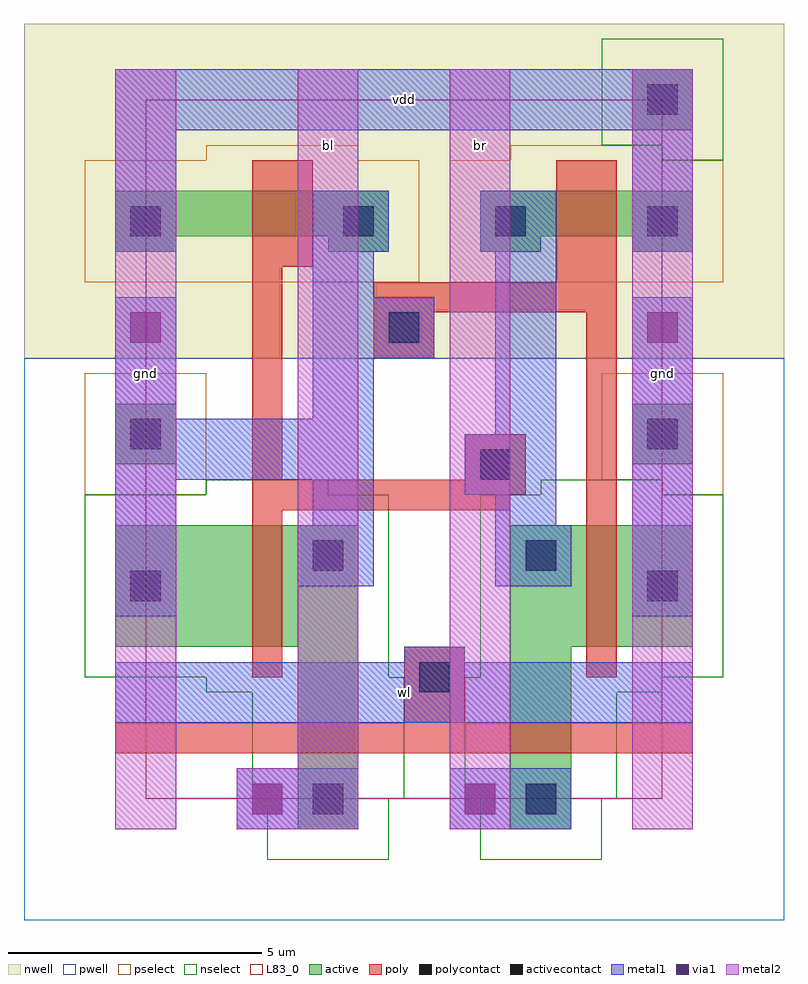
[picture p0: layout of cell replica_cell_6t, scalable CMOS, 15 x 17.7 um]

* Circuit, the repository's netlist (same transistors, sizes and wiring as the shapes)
.SUBCKT replica_cell_6t bl br wl vdd gnd
M1 gnd net_2 vdd vdd p w=0.9u l=1.2u 
M2 net_2 gnd vdd vdd p w=0.9u l=1.2u 
M3 br wl net_2 gnd n w=1.2u l=0.6u 
M4 bl wl gnd gnd n w=1.2u l=0.6u  
M5 net_2 gnd gnd gnd n w=2.4u l=0.6u 
M6 gnd net_2 gnd gnd n w=2.4u l=0.6u  
.ENDS replica_cell_6t

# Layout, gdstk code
import gdstk
lib = gdstk.Library(unit=1e-6, precision=1e-09)
def R(c, l, rs):  # rectangles x0, y0, x1, y1
    for r in rs: c.add(gdstk.rectangle(r[:2], r[2:], *l))
def A(c, l, x, y, w, h, nx, ny, dx, dy):  # array of equal rectangles
    R(c, l, [(x+i*dx, y+j*dy, x+i*dx+w, y+j*dy+h) for i in range(nx) for j in range(ny)])
pwell = (41, 0)
nwell = (42, 0)
active = (43, 0)
pselect = (44, 0)
nselect = (45, 0)
poly = (46, 0)
polycontact = (47, 0)
activecontact = (48, 0)
metal1 = (49, 0)
via1 = (50, 0)
metal2 = (51, 0)
L83_0 = (83, 0)

replica_cell_6t = lib.new_cell('replica_cell_6t')
R(replica_cell_6t, pwell, [(-2.4,-2.4,12.6,8.7)])
R(replica_cell_6t, nwell, [(-2.4,8.7,12.6,15.3)])
A(replica_cell_6t, active, 3.6, 10.8, 1.2, 0.3, 3, 1, 3, 0)
R(replica_cell_6t, active, [(3,-0.6,4.2,3), (7.2,-0.6,8.4,3), (-0.6,3,4.2,5.4), (7.2,3,10.8,5.4), (-0.6,6.6,0.6,7.8), (9.6,6.6,10.8,7.8), (-0.6,10.8,0.6,11.1), (-0.6,11.1,4.8,12), (6.6,11.1,10.8,12), (9.6,13.2,10.8,14.4)])
R(replica_cell_6t, pselect, [(-1.2,6,1.2,8.4), (10.2,6,11.4,6.3), (9,6.3,11.4,8.4), (-1.2,10.2,5.4,12.6), (6,10.2,11.4,12.6), (1.2,12.6,4.2,12.9), (7.2,12.6,10.2,12.9)])
R(replica_cell_6t, nselect, [(2.4,-1.2,4.8,0), (6.6,-1.2,9,0), (2.1,0,5.1,2.1), (6.3,0,9.3,2.1), (1.2,2.1,5.1,2.4), (6.3,2.1,10.2,2.4), (-1.2,2.4,4.8,6), (6.6,2.4,11.4,6), (1.2,6,3.6,6.3), (7.8,6,10.2,6.3), (10.2,12.6,11.4,12.9), (9,12.9,11.4,15)])
R(replica_cell_6t, poly, [(-0.6,0.9,10.8,1.5), (5.1,1.5,6.3,3), (2.1,2.4,2.7,5.7), (8.7,2.4,9.3,9.6), (2.1,5.7,7.2,6), (2.1,6,7.5,6.3), (2.1,6.3,2.7,10.5), (6.3,6.3,7.5,7.2), (4.5,8.7,5.7,9.6), (4.5,9.6,9.3,10.2), (8.1,10.2,9.3,12.6), (2.1,10.5,3.3,12.6)])
R(replica_cell_6t, polycontact, [(5.4,2.1,6,2.7), (6.6,6.3,7.2,6.9), (4.8,9,5.4,9.6)])
A(replica_cell_6t, activecontact, 3.9, 11.1, 0.6, 0.6, 3, 1, 3, 0)
R(replica_cell_6t, activecontact, [(3.3,-0.3,3.9,0.3), (7.5,-0.3,8.1,0.3), (-0.3,3.9,0.3,4.5), (9.9,3.9,10.5,4.5), (3.3,4.5,3.9,5.1), (7.5,4.5,8.1,5.1), (-0.3,6.9,0.3,7.5), (9.9,6.9,10.5,7.5), (-0.3,11.1,0.3,11.7), (9.9,13.5,10.5,14.1)])
R(replica_cell_6t, metal1, [(1.8,-0.6,4.2,0.6), (6,-0.6,8.4,0.6), (-0.6,1.5,10.8,2.7), (5.1,2.7,6.3,3), (-0.6,3.6,0.6,6.3), (9.6,3.6,10.8,9.9), (3,4.2,4.5,5.4), (6.9,4.2,8.4,5.4), (3.3,5.4,4.5,6.3), (6.9,5.4,8.1,6), (6.3,6,8.1,7.2), (-0.6,6.3,4.5,7.5), (6.9,7.2,8.1,10.8), (-0.6,7.5,0.6,9.9), (3.3,7.5,4.5,8.7), (3.3,8.7,5.7,9.9), (3.3,9.9,4.5,10.8), (-0.6,10.8,0.6,13.2), (3.3,10.8,4.8,12), (6.6,10.8,8.1,12), (9.6,10.8,10.8,13.2), (-0.6,13.2,10.8,14.4)])
R(replica_cell_6t, via1, [(2.1,-0.3,2.7,0.3), (6.3,-0.3,6.9,0.3), (-0.3,9,0.3,9.6), (9.9,9,10.5,9.6)])
R(replica_cell_6t, metal2, [(-0.6,-0.6,0.6,14.4), (1.8,-0.6,4.2,0.6), (6,-0.6,7.2,14.4), (9.6,-0.6,10.8,14.4), (3,0.6,4.2,14.4)])
R(replica_cell_6t, L83_0, [(0,0,10.2,13.8)])
replica_cell_6t.add(gdstk.Label('vdd', (5.1,13.8), layer=49, texttype=0))
replica_cell_6t.add(gdstk.Label('wl', (5.1,2.1), layer=49, texttype=0))
replica_cell_6t.add(gdstk.Label('gnd', (0,8.4), layer=51, texttype=0))
replica_cell_6t.add(gdstk.Label('gnd', (10.2,8.4), layer=51, texttype=0))
replica_cell_6t.add(gdstk.Label('bl', (3.6,12.9), layer=51, texttype=0))
replica_cell_6t.add(gdstk.Label('br', (6.6,12.9), layer=51, texttype=0))

lib.write_gds('replica_cell_6t.gds')
